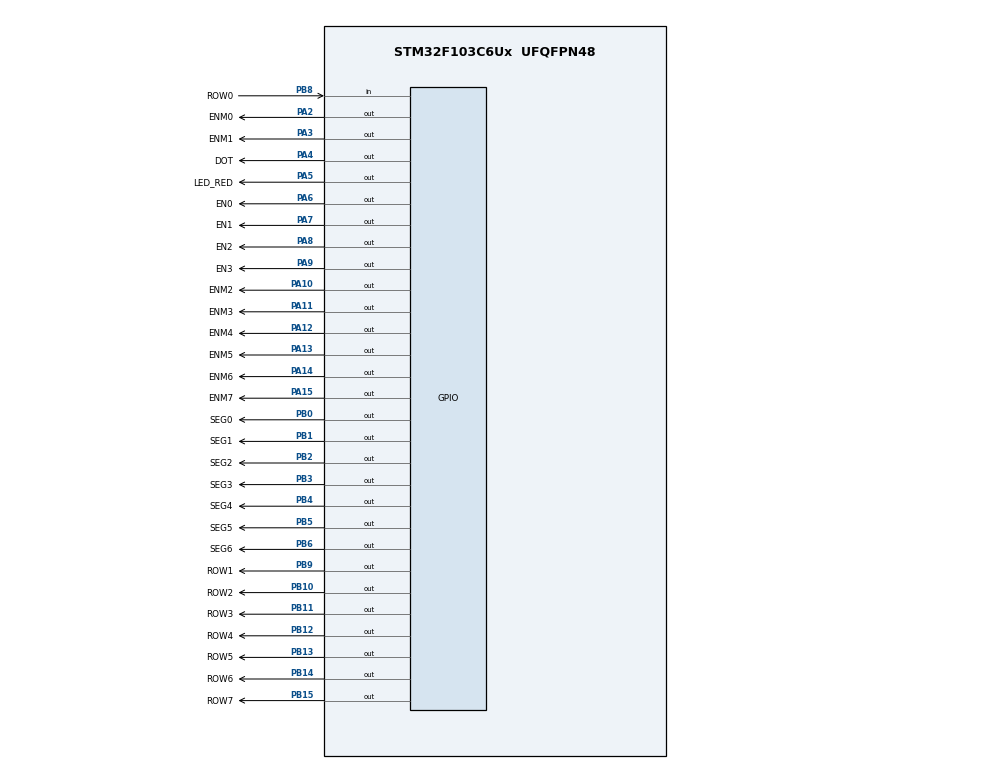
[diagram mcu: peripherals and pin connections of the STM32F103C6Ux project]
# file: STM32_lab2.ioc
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Mcu.Family=STM32F1
Mcu.Name=STM32F103C6Ux
Mcu.Package=UFQFPN48
NVIC.PriorityGroup=NVIC_PRIORITYGROUP_4
NVIC.TIM2_IRQn=true\:0\:0\:false\:false\:true\:true\:true
PA10.GPIO_Label=ENM2
PA10.Signal=GPIO_Output
PA11.GPIO_Label=ENM3
PA11.Signal=GPIO_Output
PA12.GPIO_Label=ENM4
PA12.Signal=GPIO_Output
PA13.GPIO_Label=ENM5
PA13.Signal=GPIO_Output
PA14.GPIO_Label=ENM6
PA14.Signal=GPIO_Output
PA15.GPIO_Label=ENM7
PA15.Signal=GPIO_Output
PA2.GPIO_Label=ENM0
PA2.Signal=GPIO_Output
PA3.GPIO_Label=ENM1
PA3.Signal=GPIO_Output
PA4.GPIO_Label=DOT
PA4.Signal=GPIO_Output
PA5.GPIO_Label=LED_RED
PA5.Signal=GPIO_Output
PA6.GPIO_Label=EN0
PA6.Signal=GPIO_Output
PA7.GPIO_Label=EN1
PA7.Signal=GPIO_Output
PA8.GPIO_Label=EN2
PA8.Signal=GPIO_Output
PA9.GPIO_Label=EN3
PA9.Signal=GPIO_Output
PB0.GPIO_Label=SEG0
PB0.Signal=GPIO_Output
PB1.GPIO_Label=SEG1
PB1.Signal=GPIO_Output
PB10.GPIO_Label=ROW2
PB10.Signal=GPIO_Output
PB11.GPIO_Label=ROW3
PB11.Signal=GPIO_Output
PB12.GPIO_Label=ROW4
PB12.Signal=GPIO_Output
PB13.GPIO_Label=ROW5
PB13.Signal=GPIO_Output
PB14.GPIO_Label=ROW6
PB14.Signal=GPIO_Output
PB15.GPIO_Label=ROW7
PB15.Signal=GPIO_Output
PB2.GPIO_Label=SEG2
PB2.Signal=GPIO_Output
PB3.GPIO_Label=SEG3
PB3.Signal=GPIO_Output
PB4.GPIO_Label=SEG4
PB4.Signal=GPIO_Output
PB5.GPIO_Label=SEG5
PB5.Signal=GPIO_Output
PB6.GPIO_Label=SEG6
PB6.Signal=GPIO_Output
PB8.GPIO_Label=ROW0
PB8.Signal=GPIO_Input
PB9.GPIO_Label=ROW1
PB9.Signal=GPIO_Output
ProjectManager.HeapSize=0x200
ProjectManager.StackSize=0x400
ProjectManager.TargetToolchain=STM32CubeIDE
RCC.APB1Freq_Value=8000000
RCC.APB2Freq_Value=8000000
TIM2.Period=9
TIM2.Prescaler=7999
VP_SYS_VS_ND.Mode=No_Debug
VP_TIM2_VS_ClockSourceINT.Mode=Internal
board=custom

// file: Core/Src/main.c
/* USER CODE BEGIN Header */
/**
  ******************************************************************************
  * @file           : main.c
  * @brief          : Main program body
  ******************************************************************************
  * @attention
  *
  * <h2><center>&copy; Copyright (c) 2023 STMicroelectronics.
  * All rights reserved.</center></h2>
  *
  * This software component is licensed by ST under BSD 3-Clause license,
  * the "License"; You may not use this file except in compliance with the
  * License. You may obtain a copy of the License at:
  *                        opensource.org/licenses/BSD-3-Clause
  *
  ******************************************************************************
  */
/* USER CODE END Header */
#include "main.h"

/* USER CODE BEGIN Includes */
#include "software_timer.h"
/* USER CODE END Includes */

TIM_HandleTypeDef htim2;

void SystemClock_Config(void);
static void MX_GPIO_Init(void);
static void MX_TIM2_Init(void);

/* USER CODE BEGIN 0 */
int timer0_counter = 0;
int timer0_flag = 0;
int TIMER_CYCLE = 10;

void setTimer0(int duration)
{
	timer0_counter = duration /TIMER_CYCLE;
	timer0_flag = 0;
}

void timer_run()
{
	if(timer0_counter > 0)
	{
		timer0_counter--;
		if(timer0_counter == 0)
		{
			timer0_flag = 1;
		}
	}
}

void display7SEG(int num)
{
	switch(num)
	{
		case 0:
			HAL_GPIO_WritePin(SEG0_GPIO_Port, SEG0_Pin, RESET);
			HAL_GPIO_WritePin(SEG1_GPIO_Port, SEG1_Pin, RESET);
			HAL_GPIO_WritePin(SEG2_GPIO_Port, SEG2_Pin, RESET);
			HAL_GPIO_WritePin(SEG3_GPIO_Port, SEG3_Pin, RESET);
			HAL_GPIO_WritePin(SEG4_GPIO_Port, SEG4_Pin, RESET);
			HAL_GPIO_WritePin(SEG5_GPIO_Port, SEG5_Pin, RESET);
			HAL_GPIO_WritePin(SEG6_GPIO_Port, SEG6_Pin, SET);
			break;
		case 1:
			HAL_GPIO_WritePin(SEG0_GPIO_Port, SEG0_Pin, SET);
			HAL_GPIO_WritePin(SEG1_GPIO_Port, SEG1_Pin, RESET);
			HAL_GPIO_WritePin(SEG2_GPIO_Port, SEG2_Pin, RESET);
			HAL_GPIO_WritePin(SEG3_GPIO_Port, SEG3_Pin, SET);
			HAL_GPIO_WritePin(SEG4_GPIO_Port, SEG4_Pin, SET);
			HAL_GPIO_WritePin(SEG5_GPIO_Port, SEG5_Pin, SET);
			HAL_GPIO_WritePin(SEG6_GPIO_Port, SEG6_Pin, SET);
			break;
		case 2:
			HAL_GPIO_WritePin(SEG0_GPIO_Port, SEG0_Pin, RESET);
			HAL_GPIO_WritePin(SEG1_GPIO_Port, SEG1_Pin, RESET);
			HAL_GPIO_WritePin(SEG2_GPIO_Port, SEG2_Pin, SET);
			HAL_GPIO_WritePin(SEG3_GPIO_Port, SEG3_Pin, RESET);
			HAL_GPIO_WritePin(SEG4_GPIO_Port, SEG4_Pin, RESET);
			HAL_GPIO_WritePin(SEG5_GPIO_Port, SEG5_Pin, SET);
			HAL_GPIO_WritePin(SEG6_GPIO_Port, SEG6_Pin, RESET);
			break;
		case 3:
			HAL_GPIO_WritePin(SEG0_GPIO_Port, SEG0_Pin, RESET);
			HAL_GPIO_WritePin(SEG1_GPIO_Port, SEG1_Pin, RESET);
			HAL_GPIO_WritePin(SEG2_GPIO_Port, SEG2_Pin, RESET);
			HAL_GPIO_WritePin(SEG3_GPIO_Port, SEG3_Pin, RESET);
			HAL_GPIO_WritePin(SEG4_GPIO_Port, SEG4_Pin, SET);
			HAL_GPIO_WritePin(SEG5_GPIO_Port, SEG5_Pin, SET);
			HAL_GPIO_WritePin(SEG6_GPIO_Port, SEG6_Pin, RESET);
			break;
		case 4:
			HAL_GPIO_WritePin(SEG0_GPIO_Port, SEG0_Pin, SET);
			HAL_GPIO_WritePin(SEG1_GPIO_Port, SEG1_Pin, RESET);
			HAL_GPIO_WritePin(SEG2_GPIO_Port, SEG2_Pin, RESET);
			HAL_GPIO_WritePin(SEG3_GPIO_Port, SEG3_Pin, SET);
			HAL_GPIO_WritePin(SEG4_GPIO_Port, SEG4_Pin, SET);
			HAL_GPIO_WritePin(SEG5_GPIO_Port, SEG5_Pin, RESET);
			HAL_GPIO_WritePin(SEG6_GPIO_Port, SEG6_Pin, RESET);
			break;
		case 5:
			HAL_GPIO_WritePin(SEG0_GPIO_Port, SEG0_Pin, RESET);
			HAL_GPIO_WritePin(SEG1_GPIO_Port, SEG1_Pin, SET);
			HAL_GPIO_WritePin(SEG2_GPIO_Port, SEG2_Pin, RESET);
			HAL_GPIO_WritePin(SEG3_GPIO_Port, SEG3_Pin, RESET);
			HAL_GPIO_WritePin(SEG4_GPIO_Port, SEG4_Pin, SET);
			HAL_GPIO_WritePin(SEG5_GPIO_Port, SEG5_Pin, RESET);
			HAL_GPIO_WritePin(SEG6_GPIO_Port, SEG6_Pin, RESET);
			break;
		case 6:
			HAL_GPIO_WritePin(SEG0_GPIO_Port, SEG0_Pin, RESET);
			HAL_GPIO_WritePin(SEG1_GPIO_Port, SEG1_Pin, SET);
			HAL_GPIO_WritePin(SEG2_GPIO_Port, SEG2_Pin, RESET);
			HAL_GPIO_WritePin(SEG3_GPIO_Port, SEG3_Pin, RESET);
			HAL_GPIO_WritePin(SEG4_GPIO_Port, SEG4_Pin, RESET);
			HAL_GPIO_WritePin(SEG5_GPIO_Port, SEG5_Pin, RESET);
			HAL_GPIO_WritePin(SEG6_GPIO_Port, SEG6_Pin, RESET);
			break;
		case 7:
			HAL_GPIO_WritePin(SEG0_GPIO_Port, SEG0_Pin, RESET);
			HAL_GPIO_WritePin(SEG1_GPIO_Port, SEG1_Pin, RESET);
			HAL_GPIO_WritePin(SEG2_GPIO_Port, SEG2_Pin, RESET);
			HAL_GPIO_WritePin(SEG3_GPIO_Port, SEG3_Pin, SET);
			HAL_GPIO_WritePin(SEG4_GPIO_Port, SEG4_Pin, SET);
			HAL_GPIO_WritePin(SEG5_GPIO_Port, SEG5_Pin, SET);
			HAL_GPIO_WritePin(SEG6_GPIO_Port, SEG6_Pin, SET);
			break;
		case 8:
			HAL_GPIO_WritePin(SEG0_GPIO_Port, SEG0_Pin, RESET);
			HAL_GPIO_WritePin(SEG1_GPIO_Port, SEG1_Pin, RESET);
			HAL_GPIO_WritePin(SEG2_GPIO_Port, SEG2_Pin, RESET);
			HAL_GPIO_WritePin(SEG3_GPIO_Port, SEG3_Pin, RESET);
			HAL_GPIO_WritePin(SEG4_GPIO_Port, SEG4_Pin, RESET);
			HAL_GPIO_WritePin(SEG5_GPIO_Port, SEG5_Pin, RESET);
			HAL_GPIO_WritePin(SEG6_GPIO_Port, SEG6_Pin, RESET);
			break;
		default:
			HAL_GPIO_WritePin(SEG0_GPIO_Port, SEG0_Pin, RESET);
			HAL_GPIO_WritePin(SEG1_GPIO_Port, SEG1_Pin, RESET);
			HAL_GPIO_WritePin(SEG2_GPIO_Port, SEG2_Pin, RESET);
			HAL_GPIO_WritePin(SEG3_GPIO_Port, SEG3_Pin, RESET);
			HAL_GPIO_WritePin(SEG4_GPIO_Port, SEG4_Pin, SET);
			HAL_GPIO_WritePin(SEG5_GPIO_Port, SEG5_Pin, RESET);
			HAL_GPIO_WritePin(SEG6_GPIO_Port, SEG6_Pin, RESET);
			break;
	}
}

const int MAX_LED = 4;
int index_led = 0;
int led_buffer[4] = {1, 2, 3, 0};
int hour = 15, minute = 8, second = 50;

void update7SEG(int index)
{
	switch(index)
	{
		case 0:
			//Display the first 7SEG with led_buffer[0]
			HAL_GPIO_WritePin(EN0_GPIO_Port, EN0_Pin,RESET);
			HAL_GPIO_WritePin(EN1_GPIO_Port, EN1_Pin,SET);
			HAL_GPIO_WritePin(EN2_GPIO_Port, EN2_Pin,SET);
			HAL_GPIO_WritePin(EN3_GPIO_Port, EN3_Pin,SET);
			display7SEG(led_buffer[index]);
			break;
		case 1:
			//Display the second 7SEG with led_buffer[1]
			HAL_GPIO_WritePin(EN0_GPIO_Port, EN0_Pin,SET);
			HAL_GPIO_WritePin(EN1_GPIO_Port, EN1_Pin,RESET);
			HAL_GPIO_WritePin(EN2_GPIO_Port, EN2_Pin,SET);
			HAL_GPIO_WritePin(EN3_GPIO_Port, EN3_Pin,SET);
			display7SEG(led_buffer[index]);
			break;
		case 2:
			//Display the third 7SEG with led_buffer[2]
			HAL_GPIO_WritePin(EN0_GPIO_Port, EN0_Pin,SET);
			HAL_GPIO_WritePin(EN1_GPIO_Port, EN1_Pin,SET);
			HAL_GPIO_WritePin(EN2_GPIO_Port, EN2_Pin,RESET);
			HAL_GPIO_WritePin(EN3_GPIO_Port, EN3_Pin,SET);
			display7SEG(led_buffer[index]);
			break;
		case 3:
			//Display the forth 7SEG with led_buffer[3]
			HAL_GPIO_WritePin(EN0_GPIO_Port, EN0_Pin,SET);
			HAL_GPIO_WritePin(EN1_GPIO_Port, EN1_Pin,SET);
			HAL_GPIO_WritePin(EN2_GPIO_Port, EN2_Pin,SET);
			HAL_GPIO_WritePin(EN3_GPIO_Port, EN3_Pin,RESET);
			display7SEG(led_buffer[index]);
			break;
		default:
			break;
	}
}

void updateClockBuffer()
{
	led_buffer[0]= hour/10;
	led_buffer[1]= hour%10;
	led_buffer[2]= minute/10;
	led_buffer[3]= minute%10;
}

void clearLedMatrix()
{
	HAL_GPIO_WritePin(ENM0_GPIO_Port, ENM0_Pin, 1);
	HAL_GPIO_WritePin(ENM1_GPIO_Port, ENM1_Pin, 1);
	HAL_GPIO_WritePin(ENM2_GPIO_Port, ENM2_Pin, 1);
	HAL_GPIO_WritePin(ENM3_GPIO_Port, ENM3_Pin, 1);
	HAL_GPIO_WritePin(ENM4_GPIO_Port, ENM4_Pin, 1);
	HAL_GPIO_WritePin(ENM5_GPIO_Port, ENM5_Pin, 1);
	HAL_GPIO_WritePin(ENM6_GPIO_Port, ENM6_Pin, 1);
	HAL_GPIO_WritePin(ENM7_GPIO_Port, ENM7_Pin, 1);

	HAL_GPIO_WritePin(ROW0_GPIO_Port, ROW0_Pin, 1);
	HAL_GPIO_WritePin(ROW1_GPIO_Port, ROW1_Pin, 1);
	HAL_GPIO_WritePin(ROW2_GPIO_Port, ROW2_Pin, 1);
	HAL_GPIO_WritePin(ROW3_GPIO_Port, ROW3_Pin, 1);
	HAL_GPIO_WritePin(ROW4_GPIO_Port, ROW4_Pin, 1);
	HAL_GPIO_WritePin(ROW5_GPIO_Port, ROW5_Pin, 1);
	HAL_GPIO_WritePin(ROW6_GPIO_Port, ROW6_Pin, 1);
	HAL_GPIO_WritePin(ROW7_GPIO_Port, ROW7_Pin, 1);
}

const int MAX_LED_MATRIX = 8;
int index_led_matrix = 0;
static uint8_t rowBuffer[8] = {0xFE,0xFD,0xFB,0xF7,0xEF,0xDF,0xBF,0x7F};
static uint8_t colBuffer[8] = {0xE7,0xC3,0x99,0x99,0x81,0x81,0x99,0x99};

void displayRow(int num)
{
	HAL_GPIO_WritePin(ROW0_GPIO_Port,ROW0_Pin, ((rowBuffer[num]>>0)&0x01));
	HAL_GPIO_WritePin(ROW1_GPIO_Port,ROW1_Pin, ((rowBuffer[num]>>1)&0x01));
	HAL_GPIO_WritePin(ROW2_GPIO_Port,ROW2_Pin, ((rowBuffer[num]>>2)&0x01));
	HAL_GPIO_WritePin(ROW3_GPIO_Port,ROW3_Pin, ((rowBuffer[num]>>3)&0x01));
	HAL_GPIO_WritePin(ROW4_GPIO_Port,ROW4_Pin, ((rowBuffer[num]>>4)&0x01));
	HAL_GPIO_WritePin(ROW5_GPIO_Port,ROW5_Pin, ((rowBuffer[num]>>5)&0x01));
	HAL_GPIO_WritePin(ROW6_GPIO_Port,ROW6_Pin, ((rowBuffer[num]>>6)&0x01));
	HAL_GPIO_WritePin(ROW7_GPIO_Port,ROW7_Pin, ((rowBuffer[num]>>7)&0x01));
}

void displayCol(int num)
{
	HAL_GPIO_WritePin(ENM0_GPIO_Port, ENM0_Pin, ((colBuffer[num]>>0)&0x01));
	HAL_GPIO_WritePin(ENM1_GPIO_Port, ENM1_Pin, ((colBuffer[num]>>1)&0x01));
	HAL_GPIO_WritePin(ENM2_GPIO_Port, ENM2_Pin, ((colBuffer[num]>>2)&0x01));
	HAL_GPIO_WritePin(ENM3_GPIO_Port, ENM3_Pin, ((colBuffer[num]>>3)&0x01));
	HAL_GPIO_WritePin(ENM4_GPIO_Port, ENM4_Pin, ((colBuffer[num]>>4)&0x01));
	HAL_GPIO_WritePin(ENM5_GPIO_Port, ENM5_Pin, ((colBuffer[num]>>5)&0x01));
	HAL_GPIO_WritePin(ENM6_GPIO_Port, ENM6_Pin, ((colBuffer[num]>>6)&0x01));
	HAL_GPIO_WritePin(ENM7_GPIO_Port, ENM7_Pin, ((colBuffer[num]>>7)&0x01));
}

void updateLedMatrix(int index){
	//clearLedMatrix();
	displayCol(index);
	displayRow(index);
}
/* USER CODE END 0 */

int main(void)
{

  /* MCU Configuration--------------------------------------------------------*/

  /* Reset of all peripherals, Initializes the Flash interface and the Systick. */
  HAL_Init();

  /* Configure the system clock */
  SystemClock_Config();

  /* Initialize all configured peripherals */
  MX_GPIO_Init();
  MX_TIM2_Init();
  /* USER CODE BEGIN 2 */
  HAL_TIM_Base_Start_IT(&htim2);
  /* USER CODE END 2 */

  /* Infinite loop */
  /* USER CODE BEGIN WHILE */
  int led_index = 0;
  setTimer1(25); // 7SEGMENT-LED
  setTimer2(100);
  setTimer3(15);
  setTimer4(100);
  clearLedMatrix();

  while (1)
  {
	  if(timer1_flag == 1)
	  {
		  setTimer1(25);
		  update7SEG(led_index++);
		  if(led_index >= 4) led_index = 0;
	  }
	  if(timer2_flag == 1)
	  {
		  setTimer2(100);
		  second++;
		  if(second >= 60)
		  {
			  second = 0;
			  minute++;
		  }
		  if(minute >= 60)
		  {
			  minute = 0;
			  hour++;
		  }
		  if(hour >= 24)
		  {
			  hour = 0;
		  }
	  updateClockBuffer();
	  }
	  if(timer3_flag == 1)
	  {
		  setTimer3(15);
		  updateLedMatrix(index_led_matrix++);
		  if(index_led_matrix == MAX_LED_MATRIX) index_led_matrix = 0;
	  }
	  if(timer4_flag == 1)
	  {
		  setTimer4(25);
		  HAL_GPIO_TogglePin(DOT_GPIO_Port, DOT_Pin);
	  }
    /* USER CODE END WHILE */

  }
}

void SystemClock_Config(void)
{
  RCC_OscInitTypeDef RCC_OscInitStruct = {0};
  RCC_ClkInitTypeDef RCC_ClkInitStruct = {0};

  /** Initializes the RCC Oscillators according to the specified parameters
  * in the RCC_OscInitTypeDef structure.
  */
  RCC_OscInitStruct.OscillatorType = RCC_OSCILLATORTYPE_HSI;
  RCC_OscInitStruct.HSIState = RCC_HSI_ON;
  RCC_OscInitStruct.HSICalibrationValue = RCC_HSICALIBRATION_DEFAULT;
  RCC_OscInitStruct.PLL.PLLState = RCC_PLL_NONE;
  if (HAL_RCC_OscConfig(&RCC_OscInitStruct) != HAL_OK)
  {
    Error_Handler();
  }
  /** Initializes the CPU, AHB and APB buses clocks
  */
  RCC_ClkInitStruct.ClockType = RCC_CLOCKTYPE_HCLK|RCC_CLOCKTYPE_SYSCLK
                              |RCC_CLOCKTYPE_PCLK1|RCC_CLOCKTYPE_PCLK2;
  RCC_ClkInitStruct.SYSCLKSource = RCC_SYSCLKSOURCE_HSI;
  RCC_ClkInitStruct.AHBCLKDivider = RCC_SYSCLK_DIV1;
  RCC_ClkInitStruct.APB1CLKDivider = RCC_HCLK_DIV1;
  RCC_ClkInitStruct.APB2CLKDivider = RCC_HCLK_DIV1;

  if (HAL_RCC_ClockConfig(&RCC_ClkInitStruct, FLASH_LATENCY_0) != HAL_OK)
  {
    Error_Handler();
  }
}

static void MX_TIM2_Init(void)
{

  TIM_ClockConfigTypeDef sClockSourceConfig = {0};
  TIM_MasterConfigTypeDef sMasterConfig = {0};

  htim2.Instance = TIM2;
  htim2.Init.Prescaler = 7999;
  htim2.Init.CounterMode = TIM_COUNTERMODE_UP;
  htim2.Init.Period = 9;
  htim2.Init.ClockDivision = TIM_CLOCKDIVISION_DIV1;
  htim2.Init.AutoReloadPreload = TIM_AUTORELOAD_PRELOAD_DISABLE;
  if (HAL_TIM_Base_Init(&htim2) != HAL_OK)
  {
    Error_Handler();
  }
  sClockSourceConfig.ClockSource = TIM_CLOCKSOURCE_INTERNAL;
  if (HAL_TIM_ConfigClockSource(&htim2, &sClockSourceConfig) != HAL_OK)
  {
    Error_Handler();
  }
  sMasterConfig.MasterOutputTrigger = TIM_TRGO_RESET;
  sMasterConfig.MasterSlaveMode = TIM_MASTERSLAVEMODE_DISABLE;
  if (HAL_TIMEx_MasterConfigSynchronization(&htim2, &sMasterConfig) != HAL_OK)
  {
    Error_Handler();
  }

}

static void MX_GPIO_Init(void)
{
  GPIO_InitTypeDef GPIO_InitStruct = {0};

  /* GPIO Ports Clock Enable */
  __HAL_RCC_GPIOA_CLK_ENABLE();
  __HAL_RCC_GPIOB_CLK_ENABLE();

  /*Configure GPIO pin Output Level */
  HAL_GPIO_WritePin(GPIOA, ENM0_Pin|ENM1_Pin|DOT_Pin|LED_RED_Pin
                          |EN0_Pin|EN1_Pin|EN2_Pin|EN3_Pin
                          |ENM2_Pin|ENM3_Pin|ENM4_Pin|ENM5_Pin
                          |ENM6_Pin|ENM7_Pin, GPIO_PIN_RESET);

  /*Configure GPIO pin Output Level */
  HAL_GPIO_WritePin(GPIOB, SEG0_Pin|SEG1_Pin|SEG2_Pin|ROW2_Pin
                          |ROW3_Pin|ROW4_Pin|ROW5_Pin|ROW6_Pin
                          |ROW7_Pin|SEG3_Pin|SEG4_Pin|SEG5_Pin
                          |SEG6_Pin|ROW0_Pin|ROW1_Pin, GPIO_PIN_RESET);

  /*Configure GPIO pins : ENM0_Pin ENM1_Pin DOT_Pin LED_RED_Pin
                           EN0_Pin EN1_Pin EN2_Pin EN3_Pin
                           ENM2_Pin ENM3_Pin ENM4_Pin ENM5_Pin
                           ENM6_Pin ENM7_Pin */
  GPIO_InitStruct.Pin = ENM0_Pin|ENM1_Pin|DOT_Pin|LED_RED_Pin
                          |EN0_Pin|EN1_Pin|EN2_Pin|EN3_Pin
                          |ENM2_Pin|ENM3_Pin|ENM4_Pin|ENM5_Pin
                          |ENM6_Pin|ENM7_Pin;
  GPIO_InitStruct.Mode = GPIO_MODE_OUTPUT_PP;
  GPIO_InitStruct.Pull = GPIO_NOPULL;
  GPIO_InitStruct.Speed = GPIO_SPEED_FREQ_LOW;
  HAL_GPIO_Init(GPIOA, &GPIO_InitStruct);

  /*Configure GPIO pins : SEG0_Pin SEG1_Pin SEG2_Pin ROW2_Pin
                           ROW3_Pin ROW4_Pin ROW5_Pin ROW6_Pin
                           ROW7_Pin SEG3_Pin SEG4_Pin SEG5_Pin
                           SEG6_Pin ROW0_Pin ROW1_Pin */
  GPIO_InitStruct.Pin = SEG0_Pin|SEG1_Pin|SEG2_Pin|ROW2_Pin
                          |ROW3_Pin|ROW4_Pin|ROW5_Pin|ROW6_Pin
                          |ROW7_Pin|SEG3_Pin|SEG4_Pin|SEG5_Pin
                          |SEG6_Pin|ROW0_Pin|ROW1_Pin;
  GPIO_InitStruct.Mode = GPIO_MODE_OUTPUT_PP;
  GPIO_InitStruct.Pull = GPIO_NOPULL;
  GPIO_InitStruct.Speed = GPIO_SPEED_FREQ_LOW;
  HAL_GPIO_Init(GPIOB, &GPIO_InitStruct);

}

/* USER CODE BEGIN 4 */
void HAL_TIM_PeriodElapsedCallback(TIM_HandleTypeDef *htim)
{
	timerRun();
}
/* USER CODE END 4 */

void Error_Handler(void)
{
  __disable_irq();
  while (1)
  {
  }
}

/************************ (C) COPYRIGHT STMicroelectronics *****END OF FILE****/
